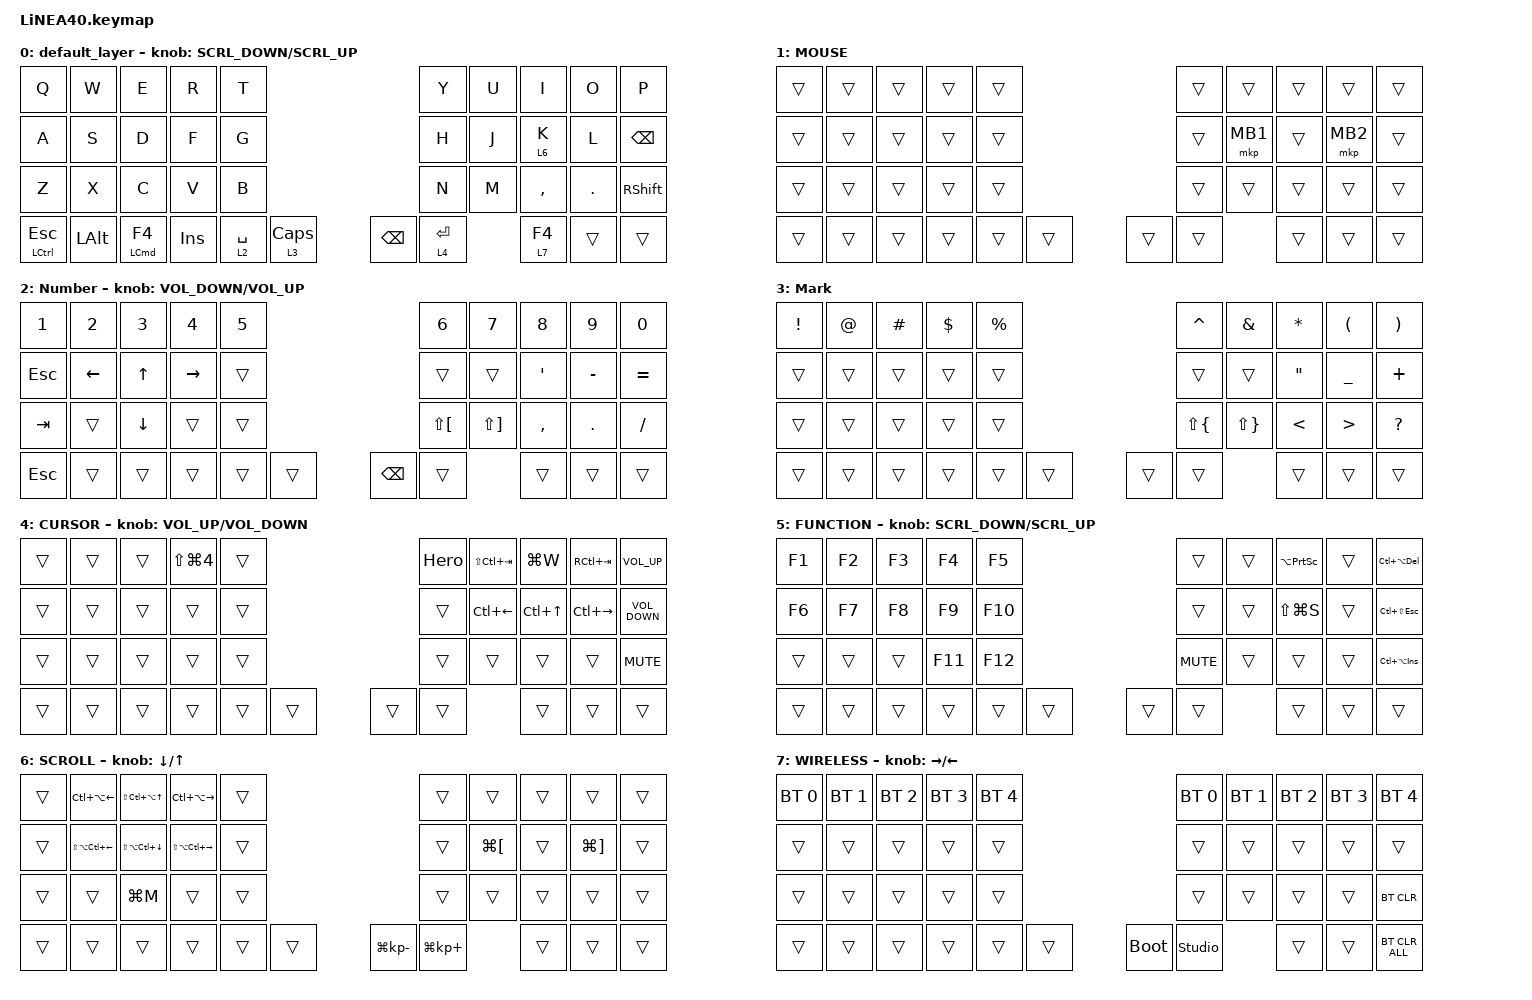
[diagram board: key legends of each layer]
#define ZMK_POINTING_DEFAULT_SCRL_VAL 150

#include <dt-bindings/zmk/input_transform.h>
#include <input/processors.dtsi>
#include <zephyr/dt-bindings/input/input-event-codes.h>
#include <behaviors.dtsi>
#include <dt-bindings/zmk/bt.h>
#include <dt-bindings/zmk/keys.h>
#include <dt-bindings/zmk/pointing.h>

#define MOUSE 1
#define MARK 2
#define CURSOR 3
#define FUNCTION 4
#define SCROLL 6
#define WIRELESS 7

&mmv {
    delay-ms = <20>;
    trigger-period-ms = <5>;
    time-to-max-speed-ms = <100>;
    acceleration-exponent = <2>;
};

&msc {
    delay-ms = <3>;
    trigger-period-ms = <3>;
    time-to-max-speed-ms = <100>;
    acceleration-exponent = <0>;
};

/ {
    input_processors {
        zip_wheel_scaler: zip_wheel_scaler {
            compatible = "zmk,input-processor-scaler";
            #input-processor-cells = <2>;
            type = <INPUT_EV_REL>;
            codes = <INPUT_REL_WHEEL>;
            track-remainders;
        };
    };
};

&msc_input_listener {
    speed_up {
        layers = <FUNCTION>;
        input-processors = <&zip_wheel_scaler 3 1>; 
    };
};

&trackball_listener {
    scroller {
        layers = <SCROLL>;
        input-processors =
            <&zip_xy_transform INPUT_TRANSFORM_Y_INVERT>,
            <&zip_xy_to_scroll_mapper>;
    };
};

/ {
    combos {
        compatible = "zmk,combos";
        ZenkakuHankaku {
            bindings = <&kp GRAVE>;
            key-positions = <11 12>;
        };
        DeleteKey {
            bindings = <&kp DEL>;
            key-positions = <7 8>;
        };
        InsertKey {
            bindings = <&kp INS>;
            key-positions = <6 7>;
        };
        CenterClick {
            bindings = <&mkp MB3>;
            key-positions = <17 16>;
        };
        RightClick {
            bindings = <&mkp MB2>;
            key-positions = <18 17>;
        };
        PrevClick {
            bindings = <&mkp MB4>;
            key-positions = <27 28>;
        };
        ClickNext {
            bindings = <&mkp MB5>;
            key-positions = <26 27>;
        };
    };

    behaviors {
        re_kp: sensor_rotate_kp {
            compatible = "zmk,behavior-sensor-rotate-var";
            #sensor-binding-cells = <2>;
            bindings = <&kp>, <&kp>;
        };
        mouse_scrl: mouse_wheel_scrl {
            compatible = "zmk,behavior-sensor-rotate-var";
            #sensor-binding-cells = <2>;
            bindings = <&msc>, <&msc>;
            tap-ms = <20>;
        };
    };

    macros {
        Hero: Hero {
            compatible = "zmk,behavior-macro";
            #binding-cells = <0>;
            bindings = <&kp LS(M) &kp A &kp T &kp E &kp T &kp A &kp Z &kp I &kp ENTER>;
            label = "HERO";
        };
    };

    keymap {
        compatible = "zmk,keymap";
        default_layer {
            bindings = <
&kp Q          &kp W         &kp E                &kp R    &kp T                                     &kp Y         &kp U  &kp I      &kp O    &kp P
&kp A          &kp S         &kp D                &kp F    &kp G                                     &kp H         &kp J  &lt 6 K    &kp L    &kp BACKSPACE
&kp Z          &kp X         &kp C                &kp V    &kp B                                     &kp N         &kp M  &kp COMMA  &kp DOT  &kp RIGHT_SHIFT
&mt LCTRL ESC  &kp LEFT_ALT  &mt LEFT_COMMAND F4  &kp INS  &lt 2 SPACE  &lt 3 CAPS    &kp BACKSPACE  &lt 4 ENTER          &lt 7 F4   &trans   &trans
            >;
            sensor-bindings = <&mouse_scrl SCRL_DOWN SCRL_UP>;
        };

        MOUSE {
            bindings = <
&trans  &trans  &trans  &trans  &trans                    &trans  &trans    &trans  &trans    &trans
&trans  &trans  &trans  &trans  &trans                    &trans  &mkp MB1  &trans  &mkp MB2  &trans
&trans  &trans  &trans  &trans  &trans                    &trans  &trans    &trans  &trans    &trans
&trans  &trans  &trans  &trans  &trans  &trans    &trans  &trans            &trans  &trans    &trans
            >;
        };

        Number {
            bindings = <
&kp N1   &kp N2    &kp N3    &kp N4           &kp NUMBER_5                           &kp N6                 &kp NUMBER_7           &kp N8     &kp N9      &kp N0
&kp ESC  &kp LEFT  &kp UP    &kp RIGHT_ARROW  &trans                                 &trans                 &trans                 &kp SQT    &kp MINUS   &kp EQUAL
&kp TAB  &trans    &kp DOWN  &trans           &trans                                 &kp LS(LEFT_BRACKET)  &kp LS(RIGHT_BRACKET)  &kp COMMA  &kp PERIOD  &kp SLASH
&kp ESC  &trans    &trans    &trans           &trans        &trans    &kp BACKSPACE  &trans                                        &trans     &trans      &trans
            >;
            sensor-bindings = <&re_kp C_VOLUME_DOWN C_VOLUME_UP>;
        };

        Mark {
            bindings = <
&kp EXCLAMATION  &kp AT  &kp POUND  &kp DOLLAR  &kp PERCENT                    &kp CARET            &kp AMPERSAND        &kp ASTERISK        &kp LEFT_PARENTHESIS  &kp RIGHT_PARENTHESIS
&trans           &trans  &trans     &trans      &trans                         &trans               &trans               &kp DOUBLE_QUOTES  &kp UNDERSCORE        &kp PLUS
&trans           &trans  &trans     &trans      &trans                         &kp LS(LEFT_BRACE)  &kp LS(RIGHT_BRACE)  &kp LESS_THAN      &kp GREATER_THAN      &kp QUESTION
&trans           &trans  &trans     &trans      &trans        &trans    &trans  &trans                                   &trans             &trans                &trans
            >;
        };

        CURSOR {
            bindings = <
&trans  &trans  &trans  &kp LS(LG(N4))  &trans                    &Hero   &kp LS(LC(TAB))  &kp LG(W)   &kp RC(TAB)          &kp C_VOLUME_UP
&trans  &trans  &trans  &trans          &trans                    &trans  &kp LC(LEFT)     &kp LC(UP)  &kp LC(RIGHT_ARROW)  &kp C_VOLUME_DOWN
&trans  &trans  &trans  &trans          &trans                    &trans  &trans           &trans      &trans               &kp K_MUTE
&trans  &trans  &trans  &trans          &trans  &trans    &trans  &trans                   &trans      &trans               &trans
            >;
            sensor-bindings = <&inc_dec_kp C_VOLUME_UP C_VOLUME_DOWN>;
        };

        FUNCTION {
            bindings = <
&kp F1  &kp F2  &kp F3  &kp F4   &kp F5                       &trans      &trans  &kp LA(PRINTSCREEN)  &trans  &kp LC(LA(DELETE))
&kp F6  &kp F7  &kp F8  &kp F9   &kp F10                      &trans      &trans  &kp LS(LG(S))        &trans  &kp LC(LS(ESCAPE))
&trans  &trans  &trans  &kp F11  &kp F12                      &kp C_MUTE  &trans  &trans               &trans  &kp LC(LA(INS))
&trans  &trans  &trans  &trans   &trans   &trans    &trans  &trans              &trans               &trans  &trans
            >;
            sensor-bindings = <&mouse_scrl SCRL_DOWN SCRL_UP>;
        };

        SCROLL {
            bindings = <
&trans  &kp LC(LA(LEFT_ARROW))      &kp LS(LC(LA(UP_ARROW)))  &kp LC(LA(RIGHT_ARROW))      &trans                               &trans           &trans                &trans  &trans                 &trans
&trans  &kp LS(LA(LC(LEFT_ARROW)))  &kp LS(LA(LC(DOWN)))      &kp LS(LA(LC(RIGHT_ARROW)))  &trans                               &trans           &kp LG(LEFT_BRACKET)  &trans  &kp LG(RIGHT_BRACKET)  &trans
&trans  &trans                      &kp LG(M)                 &trans                       &trans                               &trans           &trans                &trans  &trans                 &trans
&trans  &trans                      &trans                    &trans                       &trans  &trans    &kp LG(KP_MINUS)  &kp LG(KP_PLUS)                        &trans  &trans                 &trans
            >;
            sensor-bindings = <&inc_dec_kp DOWN_ARROW UP_ARROW>;
        };

        WIRELESS {
            bindings = <
&bt BT_SEL 0  &bt BT_SEL 1  &bt BT_SEL 2  &bt BT_SEL 3  &bt BT_SEL 4                         &bt BT_SEL 0    &bt BT_SEL 1  &bt BT_SEL 2  &bt BT_SEL 3  &bt BT_SEL 4
&trans        &trans        &trans        &trans        &trans                               &trans          &trans        &trans        &trans        &trans
&trans        &trans        &trans        &trans        &trans                               &trans          &trans        &trans        &trans        &bt BT_CLR
&trans        &trans        &trans        &trans        &trans        &trans    &bootloader  &studio_unlock               &trans        &trans        &bt BT_CLR_ALL
            >;
            sensor-bindings = <&inc_dec_kp RIGHT_ARROW LEFT_ARROW>;
        };
    };
};
